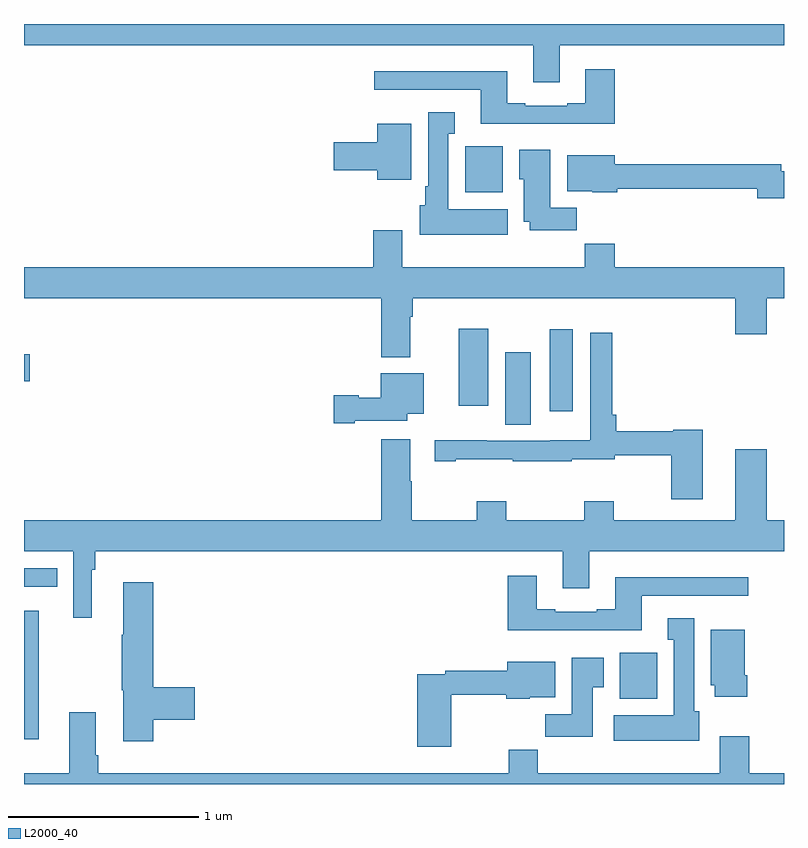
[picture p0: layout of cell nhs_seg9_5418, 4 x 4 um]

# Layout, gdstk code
import gdstk
lib = gdstk.Library(unit=1e-6, precision=1e-09)
def R(c, l, rs):  # rectangles x0, y0, x1, y1
    for r in rs: c.add(gdstk.rectangle(r[:2], r[2:], *l))
def P(c, l, *ps):  # polygons
    for p in ps: c.add(gdstk.Polygon(p, *l))
L2000_40 = (2000, 40)

nhs_seg9_5418 = lib.new_cell('nhs_seg9_5418')
R(nhs_seg9_5418, L2000_40, [(425,1224.735,425.077,1225.411), (428.135,1224.95,428.332,1225.192), (425,1225.539,425.174,1225.635), (427.532,1226.392,427.666,1226.773), (427.766,1226.463,427.888,1226.893), (427.289,1226.49,427.444,1226.896), (425,1226.621,425.029,1226.763), (427.322,1227.614,427.519,1227.856)])
P(nhs_seg9_5418, L2000_40, [(427.819,1228.388),(429,1228.388),(429,1228.5),(425,1228.5),(425,1228.388),(427.679,1228.388),(427.679,1228.194),(427.819,1228.194)],
  [(428.108,1228.261),(427.955,1228.261),(427.955,1228.084),(427.859,1228.084),(427.859,1228.071),(427.639,1228.071),(427.639,1228.084),(427.543,1228.084),(427.543,1228.252),(426.843,1228.252),(426.843,1228.155),(427.403,1228.155),(427.403,1227.974),(428.108,1227.974)],
  [(427.546,1227.526),(427.234,1227.526),(427.234,1227.923),(427.267,1227.923),(427.267,1228.036),(427.127,1228.036),(427.127,1227.646),(427.112,1227.646),(427.112,1227.546),(427.082,1227.546),(427.082,1227.392),(427.546,1227.392)],
  [(427.039,1227.976),(426.86,1227.976),(426.86,1227.878),(426.63,1227.878),(426.63,1227.731),(426.86,1227.731),(426.86,1227.68),(427.039,1227.68)],
  [(427.91,1227.532),(427.771,1227.532),(427.771,1227.838),(427.607,1227.838),(427.607,1227.684),(427.631,1227.684),(427.631,1227.458),(427.661,1227.458),(427.661,1227.414),(427.91,1227.414)],
  [(429,1227.725),(428.986,1227.725),(428.986,1227.761),(428.11,1227.761),(428.11,1227.808),(427.859,1227.808),(427.859,1227.62),(427.992,1227.62),(427.992,1227.614),(428.123,1227.614),(428.123,1227.633),(428.858,1227.633),(428.858,1227.583),(429,1227.583)],
  [(427.033,1226.96),(427.046,1226.96),(427.046,1227.056),(428.744,1227.056),(428.744,1226.868),(428.908,1226.868),(428.908,1227.056),(429,1227.056),(429,1227.22),(428.108,1227.22),(428.108,1227.344),(427.951,1227.344),(427.951,1227.22),(426.991,1227.22),(426.991,1227.415),(426.839,1227.415),(426.839,1227.22),(425,1227.22),(425,1227.056),(426.881,1227.056),(426.881,1226.747),(427.033,1226.747)],
  [(428.572,1226.365),(428.418,1226.365),(428.418,1226.357),(428.118,1226.357),(428.118,1226.443),(428.096,1226.443),(428.096,1226.875),(427.98,1226.875),(427.98,1226.308),(427.77,1226.308),(427.77,1226.307),(427.436,1226.307),(427.436,1226.309),(427.161,1226.309),(427.161,1226.199),(427.273,1226.199),(427.273,1226.209),(427.573,1226.209),(427.573,1226.199),(427.883,1226.199),(427.883,1226.209),(428.11,1226.209),(428.11,1226.229),(428.407,1226.229),(428.407,1225.998),(428.572,1225.998)],
  [(426.742,1226.411),(427.018,1226.411),(427.018,1226.45),(427.105,1226.45),(427.105,1226.662),(426.878,1226.662),(426.878,1226.533),(426.762,1226.533),(426.762,1226.546),(426.63,1226.546),(426.63,1226.399),(426.742,1226.399)],
  [(427.835,1225.53),(427.975,1225.53),(427.975,1225.724),(429,1225.724),(429,1225.888),(428.908,1225.888),(428.908,1226.263),(428.744,1226.263),(428.744,1225.888),(428.103,1225.888),(428.103,1225.987),(427.948,1225.987),(427.948,1225.888),(427.539,1225.888),(427.539,1225.987),(427.384,1225.987),(427.384,1225.888),(427.041,1225.888),(427.041,1226.093),(427.033,1226.093),(427.033,1226.314),(426.881,1226.314),(426.881,1225.888),(425,1225.888),(425,1225.724),(425.259,1225.724),(425.259,1225.374),(425.356,1225.374),(425.356,1225.628),(425.375,1225.628),(425.375,1225.724),(427.835,1225.724)],
  [(428.251,1225.491),(428.812,1225.491),(428.812,1225.588),(428.111,1225.588),(428.111,1225.42),(428.015,1225.42),(428.015,1225.407),(427.795,1225.407),(427.795,1225.42),(427.699,1225.42),(427.699,1225.597),(427.547,1225.597),(427.547,1225.31),(428.251,1225.31)],
  [(425.681,1224.839),(425.899,1224.839),(425.899,1225.01),(425.681,1225.01),(425.681,1225.561),(425.522,1225.561),(425.522,1225.286),(425.515,1225.286),(425.515,1224.993),(425.522,1224.993),(425.522,1224.726),(425.681,1224.726)],
  [(428.554,1224.882),(428.527,1224.882),(428.527,1225.372),(428.387,1225.372),(428.387,1225.259),(428.42,1225.259),(428.42,1224.862),(428.103,1224.862),(428.103,1224.728),(428.554,1224.728)],
  [(428.807,1225.072),(428.794,1225.072),(428.794,1225.312),(428.615,1225.312),(428.615,1225.02),(428.636,1225.02),(428.636,1224.96),(428.807,1224.96)],
  [(427.993,1225.009),(428.05,1225.009),(428.05,1225.165),(427.883,1225.165),(427.883,1224.868),(427.744,1224.868),(427.744,1224.75),(427.993,1224.75)],
  [(427.248,1224.969),(427.537,1224.969),(427.537,1224.95),(427.662,1224.95),(427.662,1224.956),(427.795,1224.956),(427.795,1225.144),(427.544,1225.144),(427.544,1225.097),(427.216,1225.097),(427.216,1225.077),(427.07,1225.077),(427.07,1224.696),(427.248,1224.696)],
  [(429,1224.556),(428.816,1224.556),(428.816,1224.751),(428.663,1224.751),(428.663,1224.556),(427.703,1224.556),(427.703,1224.68),(427.552,1224.68),(427.552,1224.556),(425.39,1224.556),(425.39,1224.652),(425.377,1224.652),(425.377,1224.877),(425.237,1224.877),(425.237,1224.556),(425,1224.556),(425,1224.5),(429,1224.5)])

lib.write_gds('nhs_seg9_5418.gds')
